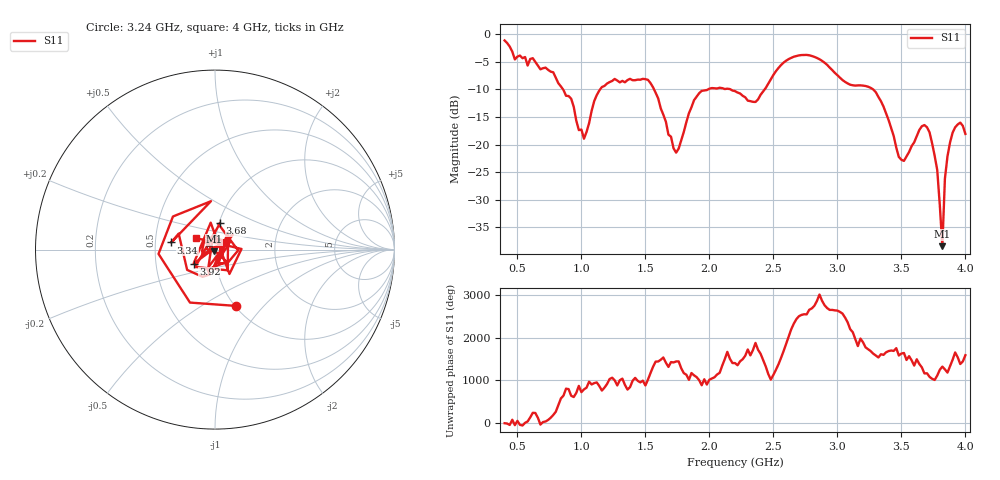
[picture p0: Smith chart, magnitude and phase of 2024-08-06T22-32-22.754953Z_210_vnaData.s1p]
!Created with skrf (http://scikit-rf.org).
# Hz S RI R 50.0
!freq ReS11 ImS11
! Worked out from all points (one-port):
!   181 points, 400 MHz to 4 GHz, reference 50 ohm
!   lowest |S11| = -38.4 dB at 3.82 GHz (marker M1), VSWR 1.02, Z = 49.4 - j1.02 ohm
!   |S11| at or under -10 dB: 856.5 MHz to 1.146 GHz (289.9 MHz wide, 28.9 % of centre); 1.567 GHz to 1.99 GHz (422.3 MHz wide, 23.7 % of centre); 3.279 GHz to end of sweep (the widest 3 of 4)
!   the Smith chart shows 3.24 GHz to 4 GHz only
!   S11 on the Smith chart (normalised r, x): 3.24 GHz: 1.01, -0.71; 3.34 GHz: 0.61, +0.05; 3.68 GHz: 1.01, +0.31; 3.92 GHz: 0.78, -0.13; 4 GHz: 0.80, +0.11
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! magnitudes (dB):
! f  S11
! 400 MHz  -1.1
! 480 MHz  -4.6
! 620 MHz  -4.3
! 860 MHz  -10.1
! 1.02 GHz  -18.9
! 1.14 GHz  -10.2
! 1.3 GHz  -8.7
! 1.52 GHz  -8.3
! 1.72 GHz  -20.7
! 1.76 GHz  -20.7
! 1.92 GHz  -10.7
! 2.2 GHz  -10.3
! 2.36 GHz  -12.3
! 2.66 GHz  -4.1
! 2.86 GHz  -4.5
! 3.1 GHz  -9.2
! 3.24 GHz  -9.5
! 3.34 GHz  -12.1
! 3.48 GHz  -22.3
! 3.56 GHz  -21.4
! 3.68 GHz  -16.5
! 3.72 GHz  -17.8
! 3.78 GHz  -24.6
! 3.82 GHz  -38.4
! 3.84 GHz  -26.2
! 3.88 GHz  -19.6
! 3.92 GHz  -16.9
! 4 GHz  -18.1
